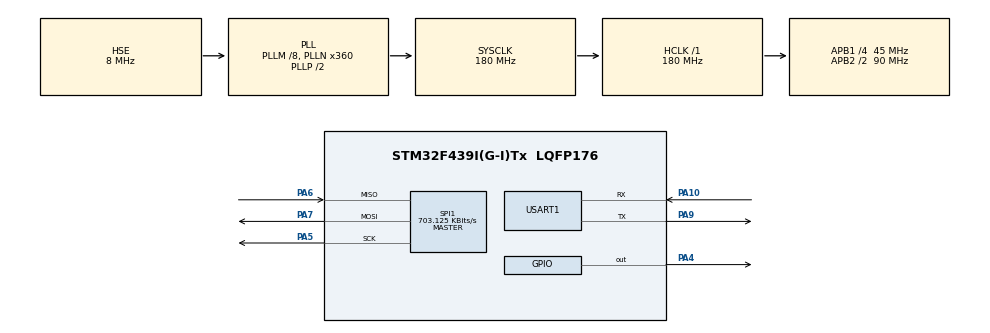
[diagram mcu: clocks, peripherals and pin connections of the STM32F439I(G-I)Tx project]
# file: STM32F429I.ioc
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Mcu.Family=STM32F4
Mcu.Name=STM32F439I(G-I)Tx
Mcu.Package=LQFP176
NVIC.PriorityGroup=NVIC_PRIORITYGROUP_4
PA10.Mode=Asynchronous
PA10.Signal=USART1_RX
PA4.GPIO_PuPd=GPIO_PULLUP
PA4.Signal=GPIO_Output
PA5.Mode=Full_Duplex_Master
PA5.Signal=SPI1_SCK
PA6.Mode=Full_Duplex_Master
PA6.Signal=SPI1_MISO
PA7.Mode=Full_Duplex_Master
PA7.Signal=SPI1_MOSI
PA9.Mode=Asynchronous
PA9.Signal=USART1_TX
PH0/OSC_IN.Mode=HSE-External-Oscillator
PH0/OSC_IN.Signal=RCC_OSC_IN
PH1/OSC_OUT.Mode=HSE-External-Oscillator
PH1/OSC_OUT.Signal=RCC_OSC_OUT
ProjectManager.TargetToolchain=MDK-ARM V5
RCC.48MHZClocksFreq_Value=90000000
RCC.AHBFreq_Value=180000000
RCC.APB1CLKDivider=RCC_HCLK_DIV4
RCC.APB1Freq_Value=45000000
RCC.APB1TimFreq_Value=90000000
RCC.APB2CLKDivider=RCC_HCLK_DIV2
RCC.APB2Freq_Value=90000000
RCC.APB2TimFreq_Value=180000000
RCC.CortexFreq_Value=180000000
RCC.HCLKFreq_Value=180000000
RCC.HSE_VALUE=8000000
RCC.HSI_VALUE=16000000
RCC.LSE_VALUE=32768
RCC.PLLM=8
RCC.PLLN=360
RCC.PLLSourceVirtual=RCC_PLLSOURCE_HSE
RCC.SYSCLKFreq_VALUE=180000000
RCC.SYSCLKSource=RCC_SYSCLKSOURCE_PLLCLK
RCC.VCOOutputFreq_Value=360000000
SPI1.BaudRatePrescaler=SPI_BAUDRATEPRESCALER_128
SPI1.CLKPhase=SPI_PHASE_2EDGE
SPI1.CLKPolarity=SPI_POLARITY_HIGH
SPI1.CalculateBaudRate=703.125 KBits/s
SPI1.DataSize=SPI_DATASIZE_8BIT
SPI1.Mode=SPI_MODE_MASTER
SPI1.TIMode=SPI_TIMODE_DISABLED
board=STM32F429I

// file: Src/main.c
/**
  ******************************************************************************
  * File Name          : main.c
  * Description        : Main program body
  ******************************************************************************
  *
  * COPYRIGHT(c) 2015 STMicroelectronics
  *
  * Redistribution and use in source and binary forms, with or without modification,
  * are permitted provided that the following conditions are met:
  *   1. Redistributions of source code must retain the above copyright notice,
  *      this list of conditions and the following disclaimer.
  *   2. Redistributions in binary form must reproduce the above copyright notice,
  *      this list of conditions and the following disclaimer in the documentation
  *      and/or other materials provided with the distribution.
  *   3. Neither the name of STMicroelectronics nor the names of its contributors
  *      may be used to endorse or promote products derived from this software
  *      without specific prior written permission.
  *
  * THIS SOFTWARE IS PROVIDED BY THE COPYRIGHT HOLDERS AND CONTRIBUTORS "AS IS"
  * AND ANY EXPRESS OR IMPLIED WARRANTIES, INCLUDING, BUT NOT LIMITED TO, THE
  * IMPLIED WARRANTIES OF MERCHANTABILITY AND FITNESS FOR A PARTICULAR PURPOSE ARE
  * DISCLAIMED. IN NO EVENT SHALL THE COPYRIGHT HOLDER OR CONTRIBUTORS BE LIABLE
  * FOR ANY DIRECT, INDIRECT, INCIDENTAL, SPECIAL, EXEMPLARY, OR CONSEQUENTIAL
  * DAMAGES (INCLUDING, BUT NOT LIMITED TO, PROCUREMENT OF SUBSTITUTE GOODS OR
  * SERVICES; LOSS OF USE, DATA, OR PROFITS; OR BUSINESS INTERRUPTION) HOWEVER
  * CAUSED AND ON ANY THEORY OF LIABILITY, WHETHER IN CONTRACT, STRICT LIABILITY,
  * OR TORT (INCLUDING NEGLIGENCE OR OTHERWISE) ARISING IN ANY WAY OUT OF THE USE
  * OF THIS SOFTWARE, EVEN IF ADVISED OF THE POSSIBILITY OF SUCH DAMAGE.
  *
  ******************************************************************************
  */
#include "stm32f4xx_hal.h"
#include "spi.h"
#include "usart.h"
#include "gpio.h"

/* USER CODE BEGIN Includes */
#include "AT45DBXX.h"
/* USER CODE END Includes */

/* USER CODE BEGIN PV */
/* Private variables ---------------------------------------------------------*/

/* USER CODE END PV */

void SystemClock_Config(void);

/* USER CODE BEGIN PFP */
/* Private function prototypes -----------------------------------------------*/

/* USER CODE END PFP */

int main(void)
{

  /* USER CODE BEGIN 1 */
	uint8_t ID[4];
	int i;
  /* USER CODE END 1 */

  /* MCU Configuration----------------------------------------------------------*/

  /* Reset of all peripherals, Initializes the Flash interface and the Systick. */
  HAL_Init();

  /* Configure the system clock */
  SystemClock_Config();

  /* Initialize all configured peripherals */
  MX_GPIO_Init();
  MX_SPI1_Init();
  MX_USART1_UART_Init();

  /* USER CODE BEGIN 2 */
	printf("\r\n****** SPI Example *****\r\n\r\n");

	/*##-1- Read the device ID  ########################*/
	AT45DBXX_Read_ID(ID);

	printf("AT45DBXX ID is");
	for(i=0;i<4;i++)
	{
		printf(" 0x%02X ",ID[i]);
	}
	printf("\r\n");

	/*##-2- Written to the flash ########################*/
	printf("\r\nFALSH AT45DBXX Write Test: \r\n");
	for(i=0;i<256;i++)
	{
		AT45DBXX_Write((uint16_t)i,i);
		printf("%3d ",i);
	}

	/*##-3- Read the flash     ########################*/
	printf("\r\nFALSH AT45DBXX Read Test: \r\n");

	for(i=0;i<256;i++)
	{
		printf("%3d ",AT45DBXX_Read((uint16_t)i));
	}
  /* USER CODE END 2 */

  /* Infinite loop */
  while (1)
  {

  }

}

/** System Clock Configuration
*/
void SystemClock_Config(void)
{

  RCC_OscInitTypeDef RCC_OscInitStruct;
  RCC_ClkInitTypeDef RCC_ClkInitStruct;

  __PWR_CLK_ENABLE();

  __HAL_PWR_VOLTAGESCALING_CONFIG(PWR_REGULATOR_VOLTAGE_SCALE1);

  RCC_OscInitStruct.OscillatorType = RCC_OSCILLATORTYPE_HSE;
  RCC_OscInitStruct.HSEState = RCC_HSE_ON;
  RCC_OscInitStruct.PLL.PLLState = RCC_PLL_ON;
  RCC_OscInitStruct.PLL.PLLSource = RCC_PLLSOURCE_HSE;
  RCC_OscInitStruct.PLL.PLLM = 8;
  RCC_OscInitStruct.PLL.PLLN = 360;
  RCC_OscInitStruct.PLL.PLLP = RCC_PLLP_DIV2;
  RCC_OscInitStruct.PLL.PLLQ = 4;
  HAL_RCC_OscConfig(&RCC_OscInitStruct);

  HAL_PWREx_ActivateOverDrive();

  RCC_ClkInitStruct.ClockType = RCC_CLOCKTYPE_SYSCLK|RCC_CLOCKTYPE_PCLK1
                              |RCC_CLOCKTYPE_PCLK2;
  RCC_ClkInitStruct.SYSCLKSource = RCC_SYSCLKSOURCE_PLLCLK;
  RCC_ClkInitStruct.AHBCLKDivider = RCC_SYSCLK_DIV1;
  RCC_ClkInitStruct.APB1CLKDivider = RCC_HCLK_DIV4;
  RCC_ClkInitStruct.APB2CLKDivider = RCC_HCLK_DIV2;
  HAL_RCC_ClockConfig(&RCC_ClkInitStruct, FLASH_LATENCY_5);

  HAL_SYSTICK_Config(HAL_RCC_GetHCLKFreq()/1000);

  HAL_SYSTICK_CLKSourceConfig(SYSTICK_CLKSOURCE_HCLK);

  /* SysTick_IRQn interrupt configuration */
  HAL_NVIC_SetPriority(SysTick_IRQn, 0, 0);
}

/************************ (C) COPYRIGHT STMicroelectronics *****END OF FILE****/
